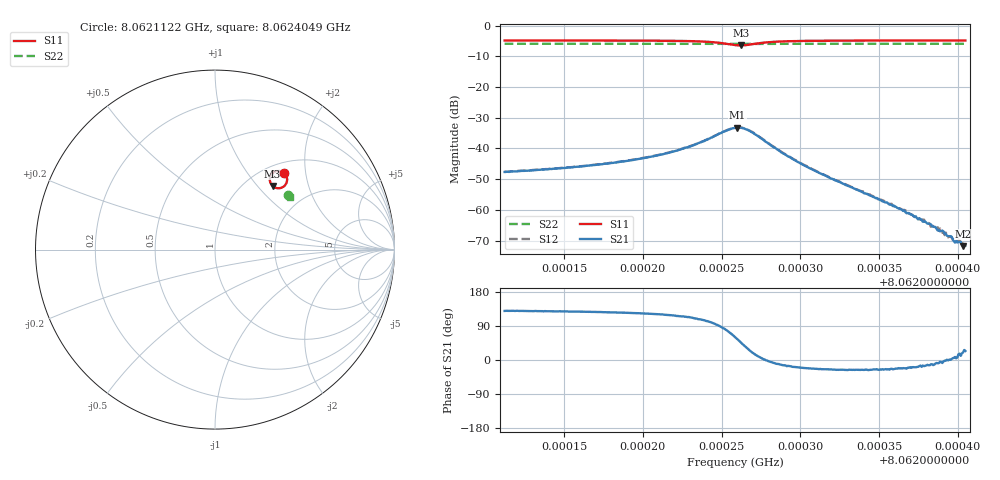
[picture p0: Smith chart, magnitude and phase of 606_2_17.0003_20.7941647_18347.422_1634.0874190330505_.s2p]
#  HZ  S  RI  R  50.00
! Rohde & Schwarz Vector Network Analyzer
! Rohde-Schwarz,ZNB20-2Port,1311601062101988,3.16
! Created: UTC 3/20/2024, 11:19:14 PM
! freq[Hz]  re:S11  im:S11  re:S21  im:S21  re:S12  im:S12  re:S22  im:S22
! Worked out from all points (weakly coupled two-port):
!   401 points, 8.0621122 GHz to 8.0624049 GHz, reference 50 ohm
!   highest |S21| = -33.20 dB at 8.06226 GHz (marker M1); lowest = -71.8 dB at 8.0624034 GHz (marker M2)
!   lowest |S11| = -6.4 dB at 8.0622622 GHz (marker M3), VSWR 2.83, Z = 65.6 + j60.4 ohm
!   |S11| at or under -10 dB: nowhere
!   |S22| runs from -6.0 to -5.9 dB; largest |S21 - S12| = 0.0014
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8.06211222e9  0.3849 0.4283  -0.00263 0.00319  -0.00249 0.00335  0.4068 0.3052
8.06216125e9  0.3905 0.4223  -0.00312 0.00407  -0.0029 0.00427  0.4088 0.3025
8.06218832e9  0.3944 0.4165  -0.00354 0.00507  -0.00322 0.00532  0.4095 0.301
8.06221027e9  0.3985 0.4085  -0.00398 0.00674  -0.00359 0.00699  0.4105 0.2995
8.06223075e9  0.402 0.3919  -0.00412 0.0102  -0.00344 0.0106  0.411 0.2977
8.06224758e9  0.3908 0.3593  -0.000646 0.0168  0.000382 0.017  0.4107 0.2955
8.06225856e9  0.3418 0.3433  0.0107 0.0188  0.0118 0.0183  0.4087 0.2951
8.06226002e9  0.3328 0.3466  0.0125 0.018  0.0137 0.0175  0.4083 0.2953
8.06226222e9  0.3206 0.3549  0.015 0.0159  0.016 0.015  0.4079 0.2958
8.06226953e9  0.3058 0.3962  0.0172 0.00613  0.0178 0.00535  0.4081 0.2973
8.06227904e9  0.3241 0.4286  0.0125 -0.000326  0.0126 -0.00117  0.4096 0.2982
8.06229075e9  0.3456 0.4378  0.00763 -0.002  0.00759 -0.00261  0.4113 0.2976
8.06230758e9  0.3621 0.4378  0.00421 -0.00175  0.00413 -0.00203  0.4125 0.2968
8.0623566e9  0.3792 0.4314  0.0011 -0.000529  0.00111 -0.000567  0.4148 0.2937
8.06236685e9  0.381 0.4304  0.000847 -0.000339  0.000867 -0.000426  0.4153 0.2932
8.06237343e9  0.3822 0.4297  0.000733 -0.000254  0.000717 -0.000308  0.4156 0.2928
8.06237855e9  0.383 0.4292  0.000614 -0.000178  0.000652 -0.000231  0.4156 0.2925
8.06239099e9  0.3846 0.4281  0.000442 -2.93e-05  0.000425 -4.8e-05  0.416 0.2918
8.06239831e9  0.3855 0.4275  0.00029 4.07e-05  0.000324 1.09e-05  0.4163 0.2916
8.0624005e9  0.3857 0.4272  0.000288 7.84e-05  0.000298 5.04e-05  0.4165 0.2913
8.06240343e9  0.3861 0.4271  0.000241 8.86e-05  0.000266 9.05e-05  0.4165 0.291
8.06240489e9  0.3863 0.427  0.000239 0.000105  0.000254 8.46e-05  0.4165 0.2912
